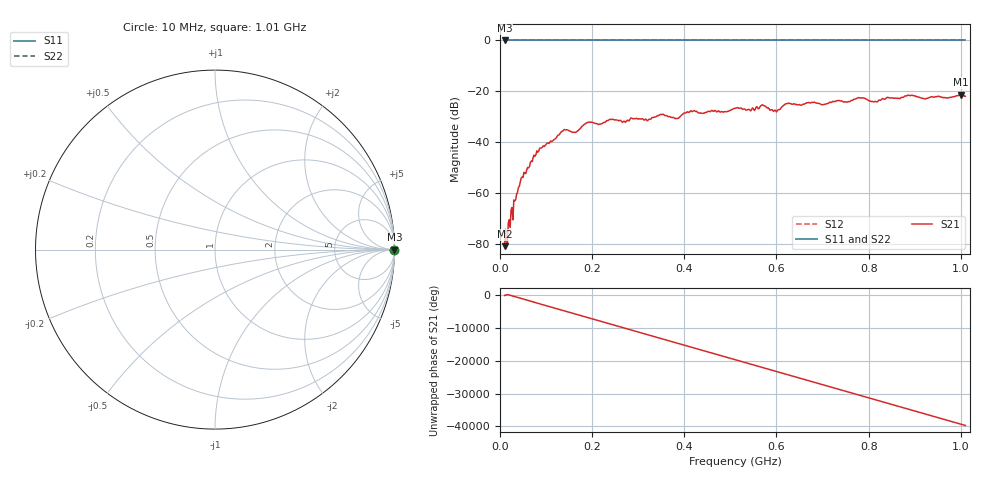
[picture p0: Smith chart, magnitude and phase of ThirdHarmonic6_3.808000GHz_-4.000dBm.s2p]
! 8/17/2025 1:11:22 PM
! C:\ANRITSUVNA\TEMP\TEMP.S2P
! CHANNEL.1
! TR.MEASUREMENT
! RAW.DATA
! RF.CORRECTION.OFF
! AVERAGING.OFF
! IF.BANDWIDTH: 5KHZ
! SWEEPTYPE:  FREQ.SWEEP(Linear)
! Reference Plane Port Info
! PORT:  PORT1  PORT2
! DISTANCE:  0  m  0  m
! TIME:  0  s  0  s
! PHASE.OFFSET:  0  deg.  0  deg.
! LOSS:  0  dB  0  dB
! REF.LOSS:  0  dB  0  dB
! REF.FREQ:  0  Hz  0  Hz
! Power Info
! POWER:  -20  dBm  -20  dBm
! EFF.POWER:  -20  dBm  -20  dBm
! SOURCE.ATTEN:  0  dB  0  dB
! TEST.ATTEN:  0  dB  0  dB
# GHZ S RI R 50.0
! FREQ.GHZ  S11RE  S11IM  S21RE  S21IM  S12RE  S12IM  S22RE  S22IM
!; PortSelection: Port_12
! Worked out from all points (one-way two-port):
!   501 points, 10 MHz to 1.01 GHz, reference 50 ohm
!   highest |S21| = -21.29 dB at 1 GHz (marker M1); lowest = -81.0 dB at 10 MHz (marker M2)
!   lowest |S11| = 0.0 dB at 10 MHz (marker M3)
!   |S11| at or under -10 dB: nowhere
!   |S22| runs from 0.0 to 0.0 dB; largest |S21 - S12| = 1.1
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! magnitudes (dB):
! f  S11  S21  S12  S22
! 10 MHz  0.0  -81.0  0.0  0.0
! 18 MHz  0.0  -71.8  0.0  0.0
! 22 MHz  0.0  -73.5  0.0  0.0
! 44 MHz  0.0  -55.7  0.0  0.0
! 76 MHz  0.0  -45.5  0.0  0.0
! 136 MHz  0.0  -35.8  0.0  0.0
! 162 MHz  0.0  -36.1  0.0  0.0
! 178 MHz  0.0  -33.8  0.0  0.0
! 194 MHz  0.0  -32.1  0.0  0.0
! 322 MHz  0.0  -31.2  0.0  0.0
! 344 MHz  0.0  -29.6  0.0  0.0
! 384 MHz  0.0  -30.7  0.0  0.0
! 418 MHz  0.0  -28.0  0.0  0.0
! 510 MHz  0.0  -26.7  0.0  0.0
! 570 MHz  0.0  -25.3  0.0  0.0
! 598 MHz  0.0  -27.5  0.0  0.0
! 624 MHz  0.0  -24.8  0.0  0.0
! 678 MHz  0.0  -24.4  0.0  0.0
! 814 MHz  0.0  -24.0  0.0  0.0
! 844 MHz  0.0  -22.6  0.0  0.0
! 1 GHz  0.0  -21.3  0.0  0.0
! 1.01 GHz  0.0  -22.0  0.0  0.0
